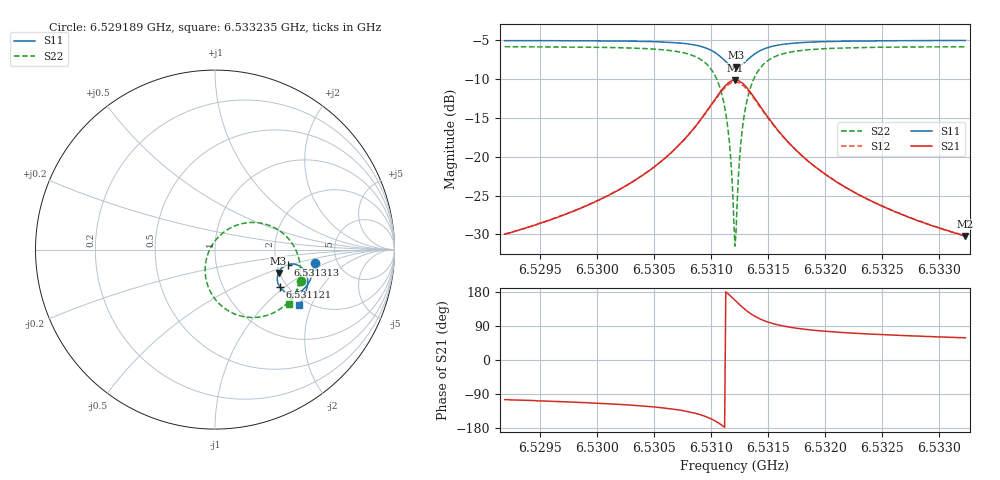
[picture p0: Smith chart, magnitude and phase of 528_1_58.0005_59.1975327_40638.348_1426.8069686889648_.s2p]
#  HZ  S  RI  R  50.00
! Rohde & Schwarz Vector Network Analyzer
! Rohde-Schwarz,ZNB20-2Port,1311601062101988,3.16
! Created: UTC 3/21/2024, 1:13:58 AM
! freq[Hz]  re:S11  im:S11  re:S21  im:S21  re:S12  im:S12  re:S22  im:S22
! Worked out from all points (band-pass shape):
!   401 points, 6.529189 GHz to 6.533235 GHz, reference 50 ohm
!   highest |S21| = -10.10 dB at 6.531212 GHz (marker M1); lowest = -30.2 dB at 6.533235 GHz (marker M2)
!   |S21| within 3 dB of the highest: 6.531011 GHz to 6.531416 GHz (404.4 kHz wide, 0.00619 % of centre)
!   lowest |S11| = -8.5 dB at 6.531222 GHz (marker M3), VSWR 2.21, Z = 98.8 - j29.8 ohm
!   |S11| at or under -10 dB: nowhere
!   |S22| runs from -31.5 to -5.8 dB; largest |S21 - S12| = 0.012
!   S11 on the Smith chart (normalised r, x): 6.529189 GHz: 3.39, -0.72; 6.531121 GHz: 1.83, -0.93; 6.531313 GHz: 2.31, -0.46; 6.533235 GHz: 1.82, -1.64
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6.5291893e9  0.5561 -0.0726  -0.00798 -0.0307  -0.00852 -0.0304  0.4812 -0.1772
6.5298669e9  0.5446 -0.129  -0.0178 -0.0436  -0.0187 -0.0431  0.4495 -0.2399
6.5302412e9  0.5326 -0.1639  -0.0301 -0.0568  -0.0315 -0.056  0.4169 -0.2836
6.5305446e9  0.515 -0.1966  -0.0524 -0.0744  -0.0545 -0.0729  0.3665 -0.3286
6.5307772e9  0.4871 -0.226  -0.093 -0.0934  -0.0958 -0.0903  0.2846 -0.368
6.5309491e9  0.4424 -0.2444  -0.1623 -0.0991  -0.1644 -0.0925  0.1572 -0.373
6.5310503e9  0.3969 -0.238  -0.2325 -0.0714  -0.2315 -0.0618  0.0388 -0.3156
6.5311211e9  0.3619 -0.2092  -0.2839 -0.0114  -0.2779 -0.00147  -0.0383 -0.2061
6.5311615e9  0.3491 -0.1806  -0.2997 0.0425  -0.2903 0.0505  -0.0551 -0.1143
6.531202e9  0.3485 -0.1463  -0.2941 0.1041  -0.283 0.1084  -0.0358 -0.0142
6.5312121e9  0.3507 -0.1378  -0.2888 0.1193  -0.2776 0.1225  -0.0248 0.00944
6.5312222e9  0.3538 -0.1295  -0.2823 0.1336  -0.2708 0.1359  -0.0115 0.0321
6.5312323e9  0.3578 -0.1216  -0.2741 0.1473  -0.2631 0.1487  0.00376 0.0532
6.5312627e9  0.3738 -0.1016  -0.2432 0.182  -0.2334 0.1808  0.0598 0.105
6.5312829e9  0.3871 -0.0918  -0.2189 0.1989  -0.2104 0.1963  0.1022 0.1286
6.5313132e9  0.4081 -0.083  -0.1812 0.2142  -0.1745 0.2109  0.1672 0.148
6.531384e9  0.4522 -0.0835  -0.1042 0.2154  -0.1008 0.2121  0.296 0.137
6.5314852e9  0.4904 -0.1067  -0.0384 0.1829  -0.0368 0.181  0.403 0.0679
6.5316369e9  0.5118 -0.1437  0.000765 0.1347  0.00192 0.134  0.4613 -0.0291
6.5318897e9  0.5163 -0.1876  0.0171 0.0877  0.0181 0.0875  0.4756 -0.1277
6.5325673e9  0.497 -0.2582  0.0185 0.042  0.0194 0.0417  0.4468 -0.2444
6.5332349e9  0.4707 -0.3081  0.016 0.0264  0.0166 0.0261  0.4124 -0.3042
